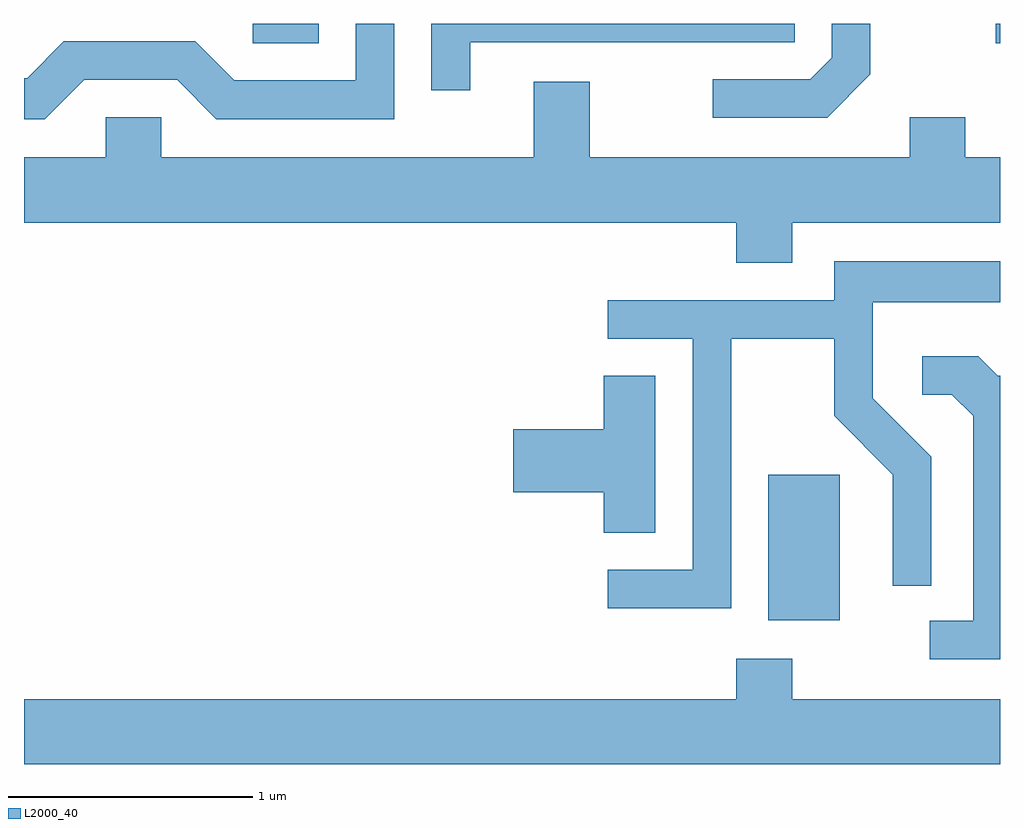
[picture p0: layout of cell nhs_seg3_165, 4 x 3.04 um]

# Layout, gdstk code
import gdstk
lib = gdstk.Library(unit=1e-6, precision=1e-09)
def R(c, l, rs):  # rectangles x0, y0, x1, y1
    for r in rs: c.add(gdstk.rectangle(r[:2], r[2:], *l))
def P(c, l, *ps):  # polygons
    for p in ps: c.add(gdstk.Polygon(p, *l))
L2000_40 = (2000, 40)

nhs_seg3_165 = lib.new_cell('nhs_seg3_165')
R(nhs_seg3_165, L2000_40, [(192.661,1175.446,192.954,1176.044), (190.548,1177.811,190.819,1177.892), (193.593,1177.811,193.611,1177.892)])
P(nhs_seg3_165, L2000_40, [(189.857,1177.661),(190.239,1177.661),(190.399,1177.501),(191.129,1177.501),(191.129,1177.892),(190.971,1177.892),(190.971,1177.659),(190.472,1177.659),(190.312,1177.819),(189.774,1177.819),(189.624,1177.669),(189.611,1177.669),(189.611,1177.501),(189.697,1177.501)],
  [(191.439,1177.816),(192.769,1177.816),(192.769,1177.892),(191.281,1177.892),(191.281,1177.618),(191.439,1177.618)],
  [(193.079,1177.684),(193.079,1177.892),(192.921,1177.892),(192.921,1177.752),(192.834,1177.664),(192.433,1177.664),(192.433,1177.506),(192.902,1177.506)],
  [(192.759,1177.076),(193.611,1177.076),(193.611,1177.344),(193.469,1177.344),(193.469,1177.509),(193.241,1177.509),(193.241,1177.344),(191.929,1177.344),(191.929,1177.654),(191.701,1177.654),(191.701,1177.344),(190.174,1177.344),(190.174,1177.509),(189.946,1177.509),(189.946,1177.344),(189.611,1177.344),(189.611,1177.076),(192.531,1177.076),(192.531,1176.911),(192.759,1176.911)],
  [(192.509,1176.601),(192.931,1176.601),(192.931,1176.284),(193.171,1176.044),(193.171,1175.588),(193.329,1175.588),(193.329,1176.117),(193.089,1176.357),(193.089,1176.751),(193.611,1176.751),(193.611,1176.919),(192.931,1176.919),(192.931,1176.759),(192.003,1176.759),(192.003,1176.601),(192.351,1176.601),(192.351,1175.654),(192.003,1175.654),(192.003,1175.496),(192.509,1175.496)],
  [(193.611,1176.449),(193.602,1176.449),(193.522,1176.529),(193.293,1176.529),(193.293,1176.371),(193.414,1176.371),(193.501,1176.284),(193.501,1175.444),(193.323,1175.444),(193.323,1175.286),(193.611,1175.286)],
  [(192.199,1176.449),(191.986,1176.449),(191.986,1176.229),(191.616,1176.229),(191.616,1175.971),(191.986,1175.971),(191.986,1175.806),(192.199,1175.806)],
  [(193.611,1175.124),(192.759,1175.124),(192.759,1175.289),(192.531,1175.289),(192.531,1175.124),(189.611,1175.124),(189.611,1174.856),(193.611,1174.856)])

lib.write_gds('nhs_seg3_165.gds')
